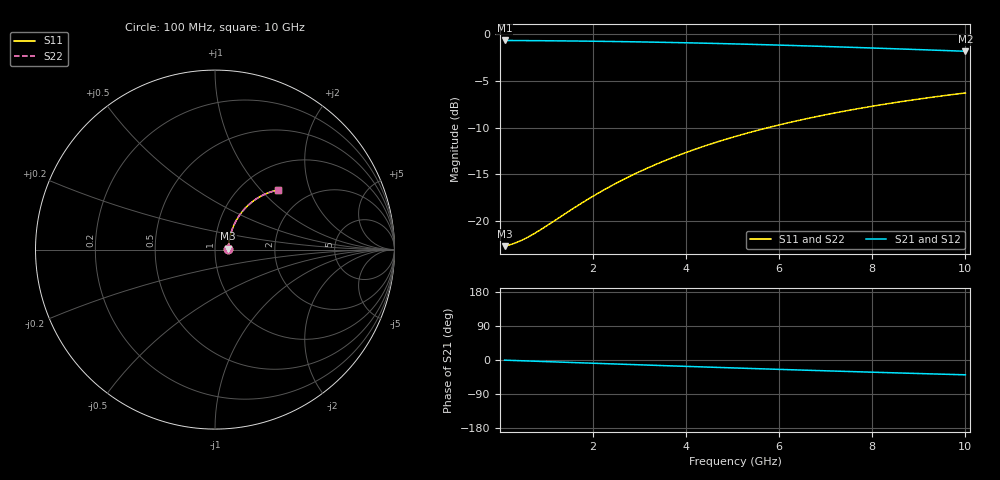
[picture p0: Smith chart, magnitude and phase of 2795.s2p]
# Hz S RI R 50.00
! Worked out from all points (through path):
!   100 points, 100 MHz to 10 GHz, reference 50 ohm
!   highest |S21| = -0.66 dB at 100 MHz (marker M1); lowest = -1.8 dB at 10 GHz (marker M2)
!   group delay of S21, straight-line fit = 10.9 ps
!   lowest |S11| = -22.7 dB at 100 MHz (marker M3), VSWR 1.16, Z = 57.9 + j0.602 ohm
!   |S11| at or under -10 dB: start of sweep to 5.755 GHz
!   |S22| runs from -22.7 to -6.3 dB; largest |S21 - S12| = 0
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1e8  0.0733 0.00517  0.9267 -0.00693  0.9267 -0.00693  0.0733 0.00517
3e8  0.0744 0.0155  0.9256 -0.0208  0.9256 -0.0208  0.0744 0.0155
4e8  0.0749 0.0206  0.9251 -0.0277  0.9251 -0.0277  0.0749 0.0206
5e8  0.0755 0.0257  0.9245 -0.0345  0.9245 -0.0345  0.0755 0.0257
7e8  0.0768 0.0359  0.9231 -0.0483  0.9231 -0.0483  0.0768 0.0359
1e9  0.0792 0.0512  0.9207 -0.0688  0.9207 -0.0688  0.0792 0.0512
1.8e9  0.0885 0.0909  0.911 -0.1227  0.911 -0.1227  0.0885 0.0909
2.2e9  0.0948 0.1102  0.9044 -0.149  0.9044 -0.149  0.0948 0.1102
2.6e9  0.1021 0.129  0.8968 -0.1749  0.8968 -0.1749  0.1021 0.129
3e9  0.1104 0.1471  0.8881 -0.2001  0.8881 -0.2001  0.1104 0.1471
3.4e9  0.1197 0.1647  0.8783 -0.2248  0.8783 -0.2248  0.1197 0.1647
3.8e9  0.1299 0.1816  0.8677 -0.2487  0.8677 -0.2487  0.1299 0.1816
4.2e9  0.141 0.1977  0.8561 -0.2719  0.8561 -0.2719  0.141 0.1977
4.6e9  0.1528 0.213  0.8437 -0.2944  0.8437 -0.2944  0.1528 0.213
5.1e9  0.1686 0.2309  0.8271 -0.3212  0.8271 -0.3212  0.1686 0.2309
5.5e9  0.1819 0.2443  0.8131 -0.3417  0.8131 -0.3417  0.1819 0.2443
5.9e9  0.1957 0.2567  0.7985 -0.3614  0.7985 -0.3614  0.1957 0.2567
6.7e9  0.2248 0.2789  0.7678 -0.3979  0.7678 -0.3979  0.2248 0.2789
7.5e9  0.2552 0.2974  0.7354 -0.4309  0.7354 -0.4309  0.2552 0.2974
8.4e9  0.2904 0.3139  0.6978 -0.4637  0.6978 -0.4637  0.2904 0.3139
9.2e9  0.3221 0.3247  0.6638 -0.4892  0.6638 -0.4892  0.3221 0.3247
1e10  0.3536 0.3323  0.6296 -0.5114  0.6296 -0.5114  0.3536 0.3323
